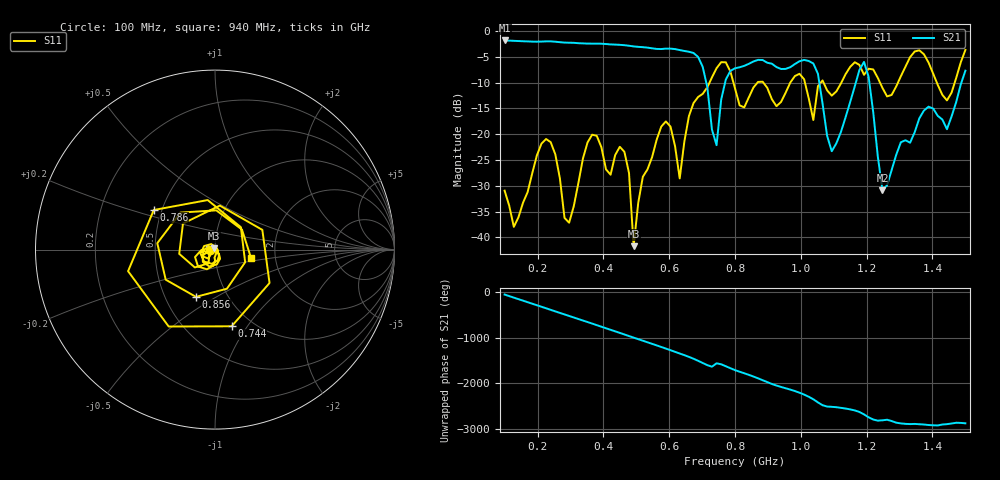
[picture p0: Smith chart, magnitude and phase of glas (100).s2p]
! NanoVNA-App
! Date: 2025-09-25 15:56:15
! Start: 100MHz Stop: 1,5GHz Points: 101
! S-Parameter data: F S11 S21 S12 S22
# Hz S RI R 50
!  Frequency  S11_Real  S11_Imag  S21_Real  S21_Imag  S12_Real  S12_Imag  S22_Real  S22_Imag
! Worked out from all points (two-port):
!   101 points, 100 MHz to 1.5 GHz, reference 50 ohm
!   highest |S21| = -1.80 dB at 100 MHz (marker M1); lowest = -30.8 dB at 1.248 GHz (marker M2)
!   |S21| within 3 dB of the highest: start of sweep to 684.3 MHz
!   lowest |S11| = -41.7 dB at 492 MHz (marker M3), VSWR 1.02, Z = 49.5 + j0.645 ohm
!   |S11| at or under -10 dB: start of sweep to 722.4 MHz; 795.3 MHz to 868.1 MHz (72.75 MHz wide, 8.75 % of centre); 886.3 MHz to 967.8 MHz (81.46 MHz wide, 8.79 % of centre) (the widest 3 of 7)
!   S12 and S22 are empty: the file has one direction only
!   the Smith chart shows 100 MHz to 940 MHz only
!   S11 on the Smith chart (normalised r, x): 100 MHz: 0.95, -0.01; 744 MHz: 0.80, -0.85; 786 MHz: 0.45, +0.24; 856 MHz: 0.71, -0.41; 940 MHz: 1.49, -0.14
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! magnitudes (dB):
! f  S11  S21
! 100 MHz  -31.0  -1.8
! 128 MHz  -38.0  -1.9
! 226 MHz  -20.9  -2.0
! 296 MHz  -37.2  -2.2
! 338 MHz  -24.7  -2.4
! 464 MHz  -23.4  -2.7
! 492 MHz  -41.7  -3.0
! 576 MHz  -18.5  -3.5
! 632 MHz  -28.6  -3.7
! 702 MHz  -12.2  -6.9
! 744 MHz  -7.2  -22.1
! 786 MHz  -7.8  -7.7
! 800 MHz  -11.1  -7.2
! 856 MHz  -10.9  -5.9
! 940 MHz  -13.7  -7.3
! 1.038 GHz  -17.2  -6.3
! 1.094 GHz  -12.5  -23.3
! 1.192 GHz  -8.5  -6.0
! 1.248 GHz  -11.0  -30.8
! 1.276 GHz  -12.4  -26.9
! 1.444 GHz  -13.4  -19.0
! 1.5 GHz  -3.6  -7.7
